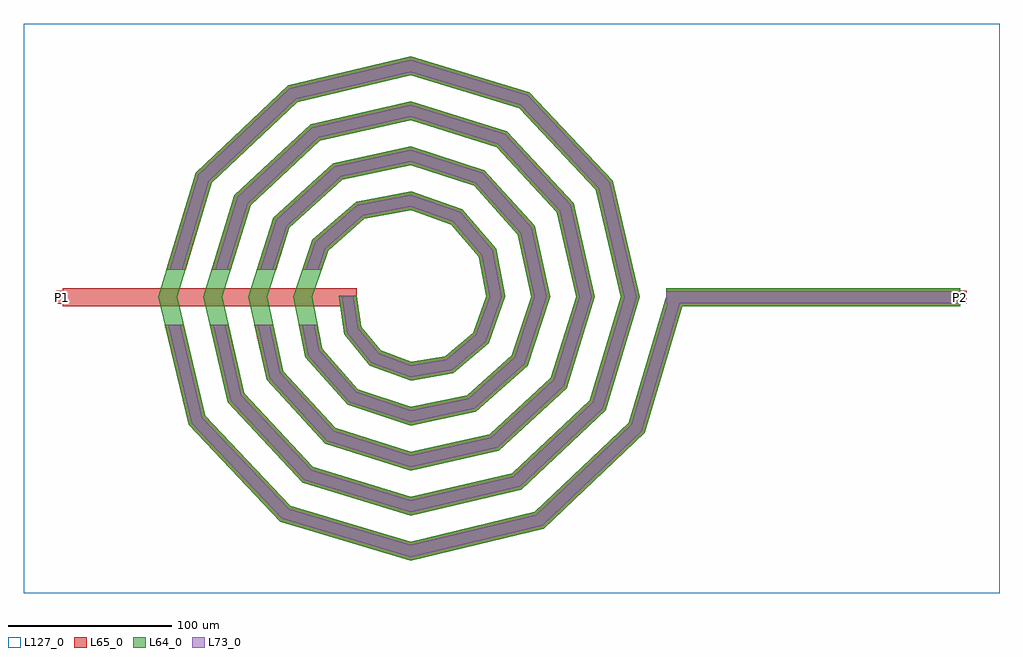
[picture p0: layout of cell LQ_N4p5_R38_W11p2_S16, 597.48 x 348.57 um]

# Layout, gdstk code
import gdstk
lib = gdstk.Library(unit=1e-6, precision=1e-09)
def R(c, l, rs):  # rectangles x0, y0, x1, y1
    for r in rs: c.add(gdstk.rectangle(r[:2], r[2:], *l))
def P(c, l, *ps):  # polygons
    for p in ps: c.add(gdstk.Polygon(p, *l))
L64_0 = (64, 0)
L65_0 = (65, 0)
L73_0 = (73, 0)
L127_0 = (127, 0)

lq_n4p5_r38_w11p2_s16 = lib.new_cell('LQ_N4p5_R38_W11p2_S16')
R(lq_n4p5_r38_w11p2_s16, L64_0, [(156.645,-5.6,336.645,5.6)])
P(lq_n4p5_r38_w11p2_s16, L64_0, [(-29.972,-18.005),(-18.127,-32.546),(0.546,-39.54),(21.365,-35.966),(38.458,-21.631),(46.412,0.474),(41.952,24.745),(25.12,44.381),(0.419,53.287),(-28.139,47.931),(-50.312,28.599),(-60.163,0.376),(-53.906,-31.542),(-32.069,-56.248),(0.34,-67.039),(34.951,-59.878),(62.188,-35.535),(73.916,0.311),(65.847,38.366),(38.996,68.131),(0.286,80.793),(-41.784,71.815),(-74.075,42.454),(-87.67,0.265),(-77.781,-45.206),(-45.909,-80.022),(0.247,-94.548),(48.629,-83.745),(85.97,-49.362),(101.426,0.231),(89.709,52.055),(52.813,91.919),(0.217,108.303),(-55.482,95.672),(-97.869,56.263),(-115.181,0.205),(-101.635,-58.911),(-59.712,-103.819),(0.194,-122.059),(62.341,-107.596),(109.771,-63.16),(128.937,0.184),(113.558,65.771),(66.607,115.723),(0.175,135.815),(-69.203,119.518),(-121.675,70.053),(-142.693,0.167),(-125.479,-72.635),(-73.499,-127.628),(0.16,-149.571),(76.068,-131.439),(133.581,-76.944),(156.876,1.592),(167.614,-1.592),(143.464,-83.008),(81.591,-141.635),(0.16,-161.162),(-79.575,-137.504),(-135.682,-78.146),(-154.284,0.167),(-131.543,76.142),(-74.7,129.729),(0.175,147.405),(72.71,125.582),(123.776,71.253),(140.527,0.184),(119.621,-69.279),(67.806,-117.824),(0.194,-133.648),(-65.849,-113.659),(-111.872,-64.357),(-126.77,0.205),(-107.696,62.419),(-60.908,105.921),(0.217,119.891),(58.991,101.732),(99.971,57.457),(113.013,0.231),(95.768,-55.565),(54.004,-94.021),(0.247,-106.134),(-52.139,-89.803),(-88.073,-50.55),(-99.255,0.265),(-83.836,48.716),(-47.093,82.125),(0.286,92.376),(45.296,77.867),(76.179,43.633),(85.497,0.311),(71.896,-41.879),(40.17,-70.235),(0.34,-78.617),(-38.466,-65.923),(-64.294,-36.701),(-71.737,0.376),(-59.945,35.059),(-33.226,58.355),(0.419,64.856),(31.659,53.963),(52.421,29.741),(57.974,0.474),(47.973,-28.269),(26.243,-46.493),(0.546,-51.091),(-24.895,-41.971),(-40.574,-22.725),(-43.971,0.86),(-32.903,0.86)])
R(lq_n4p5_r38_w11p2_s16, L65_0, [(-212.837,-5.6,-32.837,5.6), (156.645,-5.6,336.645,5.6), (-216.837,-4,-208.837,4), (332.645,-4,340.645,4)])
P(lq_n4p5_r38_w11p2_s16, L65_0, [(-125.479,-72.635),(-73.499,-127.628),(0.16,-149.571),(76.068,-131.439),(133.581,-76.944),(156.876,1.593),(167.614,-1.593),(143.464,-83.008),(81.591,-141.635),(0.16,-161.162),(-79.575,-137.504),(-135.682,-78.146),(-150.254,-16.8),(-138.742,-16.8)],
  [(-101.635,-58.911),(-59.712,-103.819),(0.194,-122.059),(62.341,-107.596),(109.771,-63.16),(128.937,0.184),(113.558,65.772),(66.607,115.723),(0.175,135.815),(-69.203,119.518),(-121.675,70.053),(-137.614,16.8),(-149.305,16.8),(-131.543,76.142),(-74.7,129.729),(0.175,147.405),(72.71,125.582),(123.776,71.253),(140.527,0.184),(119.621,-69.279),(67.806,-117.824),(0.194,-133.649),(-65.849,-113.659),(-111.872,-64.357),(-122.846,-16.8),(-111.352,-16.8)],
  [(-77.781,-45.206),(-45.909,-80.022),(0.247,-94.548),(48.629,-83.746),(85.97,-49.362),(101.426,0.231),(89.709,52.055),(52.813,91.919),(0.217,108.303),(-55.482,95.672),(-97.869,56.263),(-109.968,16.8),(-121.682,16.8),(-107.696,62.419),(-60.908,105.921),(0.217,119.891),(58.991,101.732),(99.971,57.457),(113.013,0.231),(95.768,-55.565),(54.004,-94.021),(0.247,-106.134),(-52.139,-89.803),(-88.073,-50.55),(-95.5,-16.8),(-84.032,-16.8)],
  [(-53.906,-31.542),(-32.069,-56.248),(0.34,-67.039),(34.951,-59.878),(62.188,-35.535),(73.916,0.311),(65.847,38.366),(38.996,68.131),(0.286,80.793),(-41.784,71.815),(-74.075,42.454),(-82.239,16.8),(-93.993,16.8),(-83.836,48.716),(-47.093,82.125),(0.286,92.376),(45.296,77.867),(76.179,43.633),(85.497,0.311),(71.896,-41.879),(40.17,-70.235),(0.34,-78.617),(-38.466,-65.923),(-64.294,-36.701),(-68.289,-16.8),(-56.865,-16.8)],
  [(-18.127,-32.546),(0.546,-39.54),(21.365,-35.966),(38.458,-21.631),(46.413,0.474),(41.952,24.745),(25.12,44.381),(0.419,53.287),(-28.139,47.931),(-50.312,28.599),(-54.323,16.8),(-66.153,16.8),(-59.945,35.059),(-33.226,58.355),(0.419,64.856),(31.659,53.963),(52.421,29.741),(57.974,0.474),(47.973,-28.269),(26.243,-46.493),(0.546,-51.091),(-24.895,-41.971),(-40.574,-22.725),(-43.971,0.86),(-32.903,0.86),(-29.973,-18.005)])
R(lq_n4p5_r38_w11p2_s16, L73_0, [(156.645,-3.6,336.645,3.6)])
P(lq_n4p5_r38_w11p2_s16, L73_0, [(-127.301,-73.619),(-74.584,-129.391),(0.103,-151.641),(77.054,-133.26),(135.346,-78.027),(158.793,1.024),(165.696,-1.024),(141.699,-81.925),(80.605,-139.814),(0.103,-159.092),(-78.49,-135.74),(-133.86,-77.162),(-148.198,-16.8),(-140.798,-16.8)],
  [(-103.463,-59.884),(-60.808,-105.576),(0.125,-124.129),(63.317,-109.423),(111.53,-64.253),(131.006,0.118),(115.382,66.75),(67.697,117.483),(0.113,137.885),(-70.185,121.342),(-123.437,71.141),(-139.702,16.8),(-147.218,16.8),(-129.781,75.055),(-73.718,127.905),(0.113,145.336),(71.621,123.822),(121.951,70.274),(138.457,0.118),(117.862,-68.187),(66.83,-115.998),(0.125,-131.579),(-64.753,-111.902),(-110.044,-63.385),(-120.794,-16.8),(-113.404,-16.8)],
  [(-79.619,-46.16),(-47.021,-81.768),(0.159,-96.617),(49.589,-85.58),(87.719,-50.47),(103.495,0.149),(91.542,53.02),(53.917,93.671),(0.14,110.373),(-56.451,97.502),(-99.624,57.363),(-112.059,16.8),(-119.59,16.8),(-105.941,61.32),(-59.939,104.091),(0.14,117.822),(57.888,99.98),(98.138,56.492),(110.944,0.149),(94.018,-54.457),(53.044,-92.186),(0.159,-104.065),(-51.027,-88.056),(-86.235,-49.596),(-93.452,-16.8),(-86.08,-16.8)],
  [(-55.761,-32.463),(-33.212,-57.976),(0.219,-69.107),(35.883,-61.727),(63.922,-36.668),(75.984,0.2),(67.692,39.306),(40.121,69.869),(0.184,82.861),(-42.732,73.656),(-75.818,43.572),(-84.338,16.8),(-91.894,16.8),(-82.093,47.598),(-46.145,80.284),(0.184,90.308),(44.171,76.128),(74.334,42.693),(83.429,0.2),(70.163,-40.746),(39.238,-68.386),(0.219,-76.55),(-37.324,-64.195),(-62.439,-35.78),(-66.249,-16.8),(-58.905,-16.8)],
  [(-19.336,-34.229),(0.351,-41.602),(22.236,-37.846),(40.157,-22.817),(48.477,0.305),(43.821,25.637),(26.288,46.092),(0.269,55.353),(-29.047,49.792),(-52.032,29.752),(-56.436,16.8),(-64.04,16.8),(-58.225,33.905),(-32.317,56.494),(0.269,62.79),(30.491,52.252),(50.552,28.849),(55.91,0.305),(46.274,-27.084),(25.372,-44.613),(0.351,-49.028),(-23.687,-40.288),(-38.681,-21.882),(-41.994,0.553),(-34.88,0.553),(-31.866,-18.848)])
R(lq_n4p5_r38_w11p2_s16, L127_0, [(-236.837,-181.162,360.645,167.405)])
lq_n4p5_r38_w11p2_s16.add(gdstk.Label('P2', (336.645,0), layer=65, texttype=0))
lq_n4p5_r38_w11p2_s16.add(gdstk.Label('P1', (-212.837,0), layer=65, texttype=0))
lq_n4p5_r38_w11p2_s16.add(gdstk.Label('P2', (340.645,0), layer=145, texttype=0))
lq_n4p5_r38_w11p2_s16.add(gdstk.Label('P1', (-216.837,0), layer=145, texttype=0))

lib.write_gds('LQ_N4p5_R38_W11p2_S16.gds')
